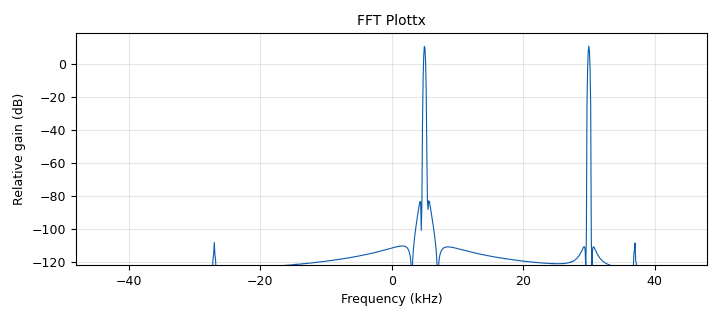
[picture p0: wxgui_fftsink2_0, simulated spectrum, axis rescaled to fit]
<?xml version='1.0' encoding='utf-8'?>
<?grc format='1' created='3.7.10'?>
<flow_graph>
<block>
<key>options</key>
<param><key>id</key><value>two_tone_loopback</value></param>
<param><key>author</key><value>Example</value></param>
<param><key>category</key><value>Custom</value></param>
<param><key>description</key><value>Loopback test</value></param>
<param><key>generate_options</key><value>wx_gui</value></param>
<param><key>title</key><value>Loopback - 2 Tone</value></param>
</block>
<block>
<key>analog_sig_source_x</key>
<param><key>id</key><value>analog_sig_source_x_0</value></param>
<param><key>amp</key><value>5</value></param>
<param><key>freq</key><value>5e3</value></param>
<param><key>offset</key><value>0</value></param>
<param><key>type</key><value>complex</value></param>
<param><key>samp_rate</key><value>samp_rate</value></param>
<param><key>waveform</key><value>analog.GR_SIN_WAVE</value></param>
</block>
<block>
<key>analog_sig_source_x</key>
<param><key>id</key><value>analog_sig_source_x_1</value></param>
<param><key>amp</key><value>5</value></param>
<param><key>freq</key><value>30e3</value></param>
<param><key>offset</key><value>0</value></param>
<param><key>type</key><value>complex</value></param>
<param><key>samp_rate</key><value>samp_rate</value></param>
<param><key>waveform</key><value>analog.GR_COS_WAVE</value></param>
</block>
<block>
<key>blocks_add_xx</key>
<param><key>id</key><value>blocks_add_xx</value></param>
<param><key>type</key><value>complex</value></param>
</block>
<block>
<key>parameter</key>
<param><key>id</key><value>samp_rate</value></param>
<param><key>label</key><value>Sample Rate</value></param>
<param><key>short_id</key><value>s</value></param>
<param><key>type</key><value>intx</value></param>
<param><key>value</key><value>96000</value></param>
</block>
<block>
<key>uhd_usrp_sink</key>
<param><key>id</key><value>uhd_usrp_sink_0</value></param>
<param><key>ant0</key><value>TX/RX</value></param>
<param><key>bw0</key><value>samp_rate</value></param>
<param><key>center_freq0</key><value>5e9</value></param>
<param><key>norm_gain0</key><value>False</value></param>
<param><key>gain0</key><value>30</value></param>
<param><key>clock_rate</key><value>0.0</value></param>
<param><key>dev_args</key><value>""</value></param>
<param><key>type</key><value>fc32</value></param>
<param><key>samp_rate</key><value>samp_rate</value></param>
<param><key>hide_cmd_port</key><value>False</value></param>
<param><key>sync</key><value></value></param>
<param><key>len_tag_name</key><value></value></param>
</block>
<block>
<key>uhd_usrp_source</key>
<param><key>id</key><value>uhd_usrp_source_0</value></param>
<param><key>ant0</key><value>RX2</value></param>
<param><key>bw0</key><value>samp_rate</value></param>
<param><key>center_freq0</key><value>5e9</value></param>
<param><key>dc_offs_enb0</key><value>""</value></param>
<param><key>iq_imbal_enb0</key><value>""</value></param>
<param><key>norm_gain0</key><value>False</value></param>
<param><key>gain0</key><value>60</value></param>
<param><key>clock_rate</key><value>0.0</value></param>
<param><key>dev_args</key><value>""</value></param>
<param><key>type</key><value>fc32</value></param>
<param><key>samp_rate</key><value>samp_rate</value></param>
<param><key>hide_cmd_port</key><value>False</value></param>
<param><key>sync</key><value></value></param>
</block>
<block>
<key>wxgui_fftsink2</key>
<param><key>id</key><value>wxgui_fftsink2</value></param>
<param><key>avg_alpha</key><value>0</value></param>
<param><key>average</key><value>False</value></param>
<param><key>baseband_freq</key><value>0</value></param>
<param><key>fft_size</key><value>512*2</value></param>
<param><key>freqvar</key><value>None</value></param>
<param><key>peak_hold</key><value>False</value></param>
<param><key>ref_level</key><value>0</value></param>
<param><key>ref_scale</key><value>2.0</value></param>
<param><key>fft_rate</key><value>15</value></param>
<param><key>samp_rate</key><value>samp_rate</value></param>
<param><key>title</key><value>FFT Plot</value></param>
<param><key>type</key><value>complex</value></param>
<param><key>win</key><value>window.blackmanharris</value></param>
<param><key>y_divs</key><value>10</value></param>
<param><key>y_per_div</key><value>10</value></param>
</block>
<block>
<key>wxgui_fftsink2</key>
<param><key>id</key><value>wxgui_fftsink2_0</value></param>
<param><key>avg_alpha</key><value>0</value></param>
<param><key>average</key><value>False</value></param>
<param><key>baseband_freq</key><value>0</value></param>
<param><key>fft_size</key><value>512*2</value></param>
<param><key>freqvar</key><value>None</value></param>
<param><key>peak_hold</key><value>False</value></param>
<param><key>ref_level</key><value>0</value></param>
<param><key>ref_scale</key><value>2.0</value></param>
<param><key>fft_rate</key><value>15</value></param>
<param><key>samp_rate</key><value>samp_rate</value></param>
<param><key>title</key><value>FFT Plottx</value></param>
<param><key>type</key><value>complex</value></param>
<param><key>win</key><value>window.blackmanharris</value></param>
<param><key>y_divs</key><value>10</value></param>
<param><key>y_per_div</key><value>10</value></param>
</block>
<connection><source_block_id>analog_sig_source_x_0</source_block_id><sink_block_id>blocks_add_xx</sink_block_id><source_key>0</source_key><sink_key>0</sink_key></connection>
<connection><source_block_id>analog_sig_source_x_1</source_block_id><sink_block_id>blocks_add_xx</sink_block_id><source_key>0</source_key><sink_key>1</sink_key></connection>
<connection><source_block_id>blocks_add_xx</source_block_id><sink_block_id>uhd_usrp_sink_0</sink_block_id><source_key>0</source_key><sink_key>0</sink_key></connection>
<connection><source_block_id>blocks_add_xx</source_block_id><sink_block_id>wxgui_fftsink2_0</sink_block_id><source_key>0</source_key><sink_key>0</sink_key></connection>
<connection><source_block_id>uhd_usrp_source_0</source_block_id><sink_block_id>wxgui_fftsink2</sink_block_id><source_key>0</source_key><sink_key>0</sink_key></connection>
</flow_graph>
